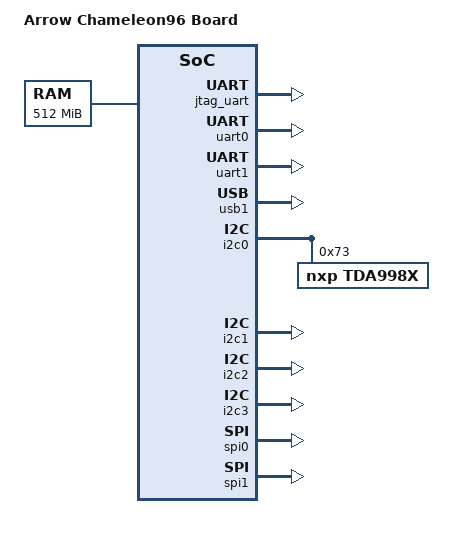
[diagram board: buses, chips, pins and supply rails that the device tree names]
/*
 *  Copyright (C) 2016 Arrow Electronics, Inc.
 *
 * This program is free software; you can redistribute it and/or modify
 * it under the terms of the GNU General Public License as published by
 * the Free Software Foundation; either version 2 of the License, or
 * (at your option) any later version.
 *
 * This program is distributed in the hope that it will be useful,
 * but WITHOUT ANY WARRANTY; without even the implied warranty of
 * MERCHANTABILITY or FITNESS FOR A PARTICULAR PURPOSE.  See the
 * GNU General Public License for more details.
 *
 * You should have received a copy of the GNU General Public License
 * along with this program.  If not, see <http://www.gnu.org/licenses/>.
 */

#include "socfpga_cyclone5.dtsi"

/ {
	model = "Arrow Chameleon96 Board";
	compatible = "altr,socfpga-cyclone5", "altr,socfpga";

	chosen {
		bootargs = "earlyprintk";
		stdout-path = "serial0:115200n8";
	};

	memory {
		name = "memory";
		device_type = "memory";
		reg = <0x0 0x20000000>; /* 512MB */
	};

	soc {
		clkmgr@ffd04000 {
			clocks {
				#clock-cells = <0>;
							   
				clk_0: clk_0 {
					#clock-cells = <0>;
					compatible = "fixed-clock";	
					clock-frequency = <50000000>;
					clock-output-names = "clk_0-clk";
				};
				
				fft_sub_clk_0: fft_sub_clk_0 {
					#clock-cells = <0>;
					compatible = "fixed-clock";
					clock-frequency = <50000000>;
					clock-output-names = "fft_sub_clk_0-clk";
				}; 
							
			};
		};
		
		base_fpga_region: base-fpga-region {
			compatible = "fpga-region";
			fpga-mgr = <&fpga_mgr>;
			fpga-bridges = <&fpga_bridge0>, <&fpga_bridge1>,
					<&fpga_bridge2>, <&fpga_bridge3>;
	
			#address-cells = <0x1>;
			#size-cells = <0x1>;
			ranges = <0 0xff200000 0x100000>,
				 <1 0xc0000000 0x20000000>;
			
			alt_vip_vfr_0: vip@0x00000100 {
			compatible = "altr,vip-frame-reader-1.0";
			reg = <0x00000100 0x00000080>;
			max-width = <1920>;
			max-height = <1080>;
			bits-per-color = <8>;
			mem-word-width = <128>;
			};
			
			jtag_uart: serial@0x100020000 {
				compatible = "altr,juart-15.1", "altr,juart-1.0";
				reg = <0x00020000 0x00000008>;
				//interrupt-parent = <&hps_0_arm_gic_0>;
				interrupts = <0 42 4>;
				clocks = <&clk_0>;
			}; //end serial@0x100020000 (jtag_uart)

			sysid_qsys: sysid@0x100010000 {
				compatible = "altr,sysid-15.1", "altr,sysid-1.0";
				reg = <0x00010000 0x00000008>;
				clocks = <&clk_0>;
				id = <2899645186>;	/* embeddedsw.dts.params.id type NUMBER */
				timestamp = <1461878490>;	/* embeddedsw.dts.params.timestamp type NUMBER */
			}; //end sysid@0x100010000 (sysid_qsys)

		};

	};
		
};

&uart0 {
	status = "okay";
};

&uart1 {
	status = "okay";
};

&usb1 {
	status = "okay";
};

&i2c0 {
	status = "okay";
        //http://processors.wiki.ti.com/index.php/Linux_Core_LCD_Controller_User_Guide
        tda998x: hdmi@73 {
		compatible = "nxp,tda998x";
		reg = <0x73>;
                //optional
		//interrupt-parent = <&intc>;
		//interrupts = <27 2>;		/* falling edge */
	};
};

&i2c1 {
	status = "okay";
};

&i2c2 {
	status = "okay";
};

&i2c3 {
	status = "okay";
};

&spi0 {
	status = "okay";
};

&spi1 {
	status = "okay";
};

&gpio0 {
	status = "okay";
};

&gpio1 {
	status = "okay";
};

&gpio2 {
	status = "okay";
};

//enabled in socfpga_cyclone5.dtsi
&gmac1 {
	status = "disabled";
};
